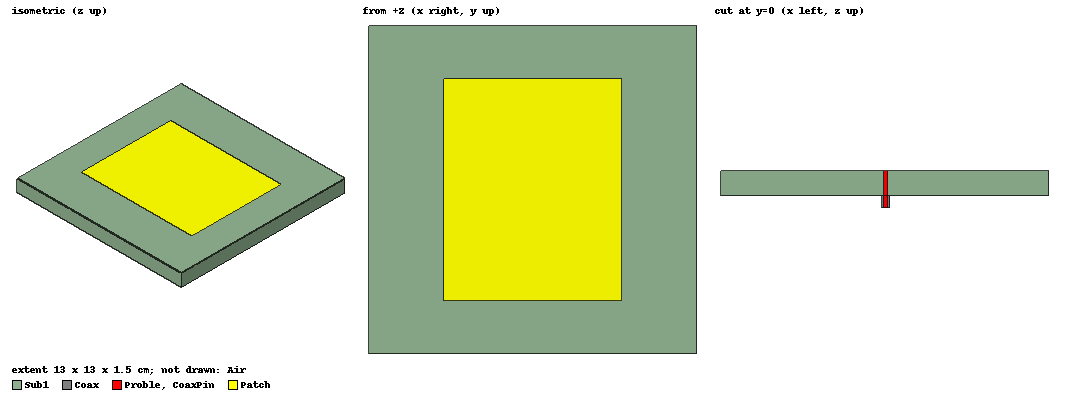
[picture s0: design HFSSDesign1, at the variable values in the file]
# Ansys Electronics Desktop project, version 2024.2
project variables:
  $Patch_Length = 0.070864925meter
  $Patch_Width = 0.087660221meter
  $Substrate_Length = 0.13meter
  $Substrate_Width = 0.13meter
  $Substrate_Thickness = 0.01meter
  $Air_Height = 0.1meter
  $X_Offset = 0.035meter
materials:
  vacuum: permittivity=1
  Rogers RT/duroid 5880 (tm): permittivity=2.2 dielectric_loss_tangent=0.0009
  polyethylene: permittivity=2.25 dielectric_loss_tangent=0.001
  pec: conductivity=1e+30
  air: permittivity=1.0006 permeability=1.0000004
  Rogers TMM 4 (tm): permittivity=4.5 dielectric_loss_tangent=0.002
  Radix Printable Dielectric: permittivity=2.8 dielectric_loss_tangent=0.0043
  JLC RO4350B: permittivity=3.48 dielectric_loss_tangent=0.0037

design HFSSDesign1 (HFSS, HFSS Terminal Network, model units cm)
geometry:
  Sub1 [Rogers TMM 4 (tm)] = box(corner=(-($Substrate_Length/2), -($Substrate_Width/2), 0cm), size=($Substrate_Length, $Substrate_Width, $Substrate_Thickness))
  Inf_GND [Rogers RT/duroid 5880 (tm)] = object_from(Sub1.face(-z))
  Cutout = circle(normal=Z, centre=(-($Patch_Length/2-$X_Offset), 0cm, 0cm), radius=0.16cm)
  Inf_GND.subtract(Cutout)
  Patch = rectangle(corner=(-($Patch_Length/2), -($Patch_Width/2), $Substrate_Thickness), x_size=$Patch_Length, y_size=$Patch_Width)
  Coax [polyethylene] = cylinder(axis=Z, base_centre=(-($Patch_Length/2-$X_Offset), 0cm, 0cm), radius=0.16cm, height=-0.5cm)
  CoaxPin [pec] = cylinder(axis=Z, base_centre=(-($Patch_Length/2-$X_Offset), 0cm, 0cm), radius=0.07cm, height=-0.5cm)
  Proble [pec] = cylinder(axis=Z, base_centre=(-($Patch_Length/2-$X_Offset), 0cm, 0cm), radius=0.07cm, height=$Substrate_Thickness)
  Air [air] = box(corner=(-0.1, -0.1, 0cm), size=(0.2, 0.2, $Air_Height))
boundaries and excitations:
  PerfE1: Perfect E Objects=Inf_GND InfGroundPlane
  PerfE_Patch: Perfect E Objects=Patch
  Rad1: Radiation Faces=Air.face(+z, -y, -x, +y, +x)
  CoaxPin_T1: Terminal port=P1 Faces=CoaxPin.face(-z end) TerminalResistance=50ohm
  P1: Wave Port Faces=Coax.face(-z end) WavePortType=Terminal NumModes=1
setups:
  Setup1: HfssDriven Frequency=915MHz MaxDeltaS=0.02 MaximumPasses=20 MinimumPasses=1 MinimumConvergedPasses=1 PercentRefinement=30 BasisOrder=1 PortAccuracy=2 DrivenSolverType="Direct Solver" VariablesForDerivatives($Patch_Length, $Patch_Width, $Substrate_Length, $Substrate_Thickness, $Substrate_Width, $X_Offset) VariableFlagsForDerivatives(1, 1, 1, 1, 1, 1)
    sweep Sweep: 400MHz to 3GHz, 500 points; Type=Interpolating InterpTolerance=0.5 InterpMaxSolns=250 PassivityErrorTolerance=0.0001
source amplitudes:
  P1:1: 1 0deg
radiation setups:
  ff_2d: Infinite Sphere Theta=-180deg..180deg step 2deg Phi=0deg..90deg step 90deg
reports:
  Tune Terminal S Parameter Plot 1: dB(TuneSt(CoaxPin_T1,CoaxPin_T1,All)) vs Freq on Setup1 : Sweep; markers MX1 at x=9.15e+08
